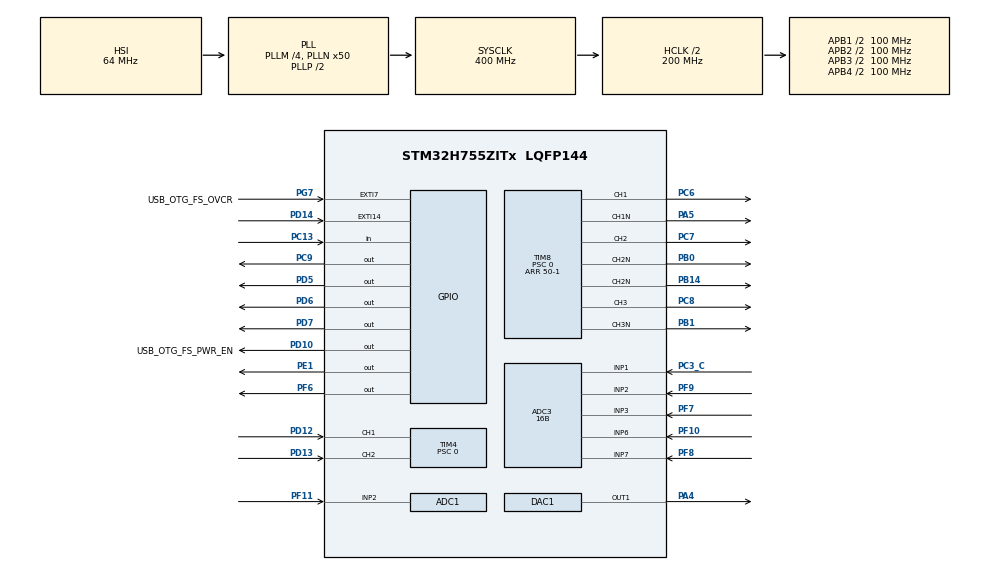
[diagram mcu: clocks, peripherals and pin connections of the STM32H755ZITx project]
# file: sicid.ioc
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ADC1.Channel-0\#ChannelRegularConversion=ADC_CHANNEL_2
ADC1.ClockPrescaler=ADC_CLOCK_ASYNC_DIV4
ADC1.ContinuousConvMode=DISABLE
ADC1.ConversionDataManagement=ADC_CONVERSIONDATA_DMA_CIRCULAR
ADC1.ExternalTrigConv=ADC_EXTERNALTRIG_T8_TRGO
ADC1.ExternalTrigConvEdge=ADC_EXTERNALTRIGCONVEDGE_RISING
ADC1.NbrOfConversion=1
ADC1.NbrOfConversionFlag=1
ADC1.OffsetNumber-0\#ChannelRegularConversion=ADC_OFFSET_NONE
ADC1.OffsetSignedSaturation-0\#ChannelRegularConversion=DISABLE
ADC1.Rank-0\#ChannelRegularConversion=1
ADC1.Resolution=ADC_RESOLUTION_16B
ADC1.SamplingTime-0\#ChannelRegularConversion=ADC_SAMPLETIME_64CYCLES_5
ADC1.master=1
ADC3.Channel-0\#ChannelRegularConversion=ADC_CHANNEL_6
ADC3.Channel-1\#ChannelRegularConversion=ADC_CHANNEL_7
ADC3.Channel-2\#ChannelRegularConversion=ADC_CHANNEL_2
ADC3.Channel-3\#ChannelRegularConversion=ADC_CHANNEL_3
ADC3.ClockPrescaler=ADC_CLOCK_ASYNC_DIV4
ADC3.ClockPrescalerADC3=ADC_CLOCK_ASYNC_DIV2
ADC3.ContinuousConvMode=ENABLE
ADC3.ConversionDataManagement=ADC_CONVERSIONDATA_DMA_CIRCULAR
ADC3.ExternalTrigConv=ADC_EXTERNALTRIG_T1_TRGO
ADC3.NbrOfConversion=4
ADC3.NbrOfConversionFlag=1
ADC3.OffsetNumber-0\#ChannelRegularConversion=ADC_OFFSET_NONE
ADC3.OffsetNumber-1\#ChannelRegularConversion=ADC_OFFSET_NONE
ADC3.OffsetNumber-2\#ChannelRegularConversion=ADC_OFFSET_NONE
ADC3.OffsetNumber-3\#ChannelRegularConversion=ADC_OFFSET_NONE
ADC3.OffsetSignedSaturation-0\#ChannelRegularConversion=DISABLE
ADC3.Rank-0\#ChannelRegularConversion=1
ADC3.Rank-1\#ChannelRegularConversion=2
ADC3.Rank-2\#ChannelRegularConversion=3
ADC3.Rank-3\#ChannelRegularConversion=4
ADC3.Ratio=2
ADC3.Resolution=ADC_RESOLUTION_16B
ADC3.SamplingTime-0\#ChannelRegularConversion=ADC_SAMPLETIME_64CYCLES_5
ADC3.SamplingTime-1\#ChannelRegularConversion=ADC_SAMPLETIME_64CYCLES_5
ADC3.SamplingTime-2\#ChannelRegularConversion=ADC_SAMPLETIME_64CYCLES_5
ADC3.SamplingTime-3\#ChannelRegularConversion=ADC_SAMPLETIME_64CYCLES_5
CortexM4.IPs=FATFS_M4\:I,FREERTOS_M4\:I,IWDG2\:I,RCC,WWDG2\:I,DMA,BDMA,MDMA,NVIC2\:I,ETH,USART3,DEBUG,PDM2PCM_M4\:I,PWR,RESMGR_UTILITY,SYS_M4\:I,USB_DEVICE_M4\:I,USB_HOST_M4\:I,CORTEX_M4\:I,GPIO,OPENAMP_M4\:I,VREFBUF,NUCLEO-H755ZI-Q
CortexM7.IPs=FATFS_M7\:I,FREERTOS_M7\:I,IWDG1\:I,RCC\:I,WWDG1\:I,DMA\:I,BDMA\:I,MDMA\:I,NVIC1\:I,ETH\:I,USART3\:I,USB_OTG_FS\:I,SYS\:I,CORTEX_M7\:I,DEBUG\:I,PDM2PCM_M7\:I,PWR\:I,RESMGR_UTILITY\:I,USB_DEVICE_M7\:I,USB_HOST_M7\:I,GPIO\:I,OPENAMP_M7\:I,VREFBUF\:I,NUCLEO-H755ZI-Q\:I,MEMORYMAP\:I,ADC3\:I,DAC1\:I,TIM1\:I,TIM2\:I,TIM4\:I,TIM8\:I,TIM6\:I,ADC1\:I
CortexM7.Pins=PF6,PD14,PD5,PD6,PD7
DAC1.DAC_Channel-DAC_OUT1=DAC_CHANNEL_1
DAC1.DAC_Trigger-DAC_OUT1=DAC_TRIGGER_T1_TRGO
Dma.ADC1.2.Direction=DMA_PERIPH_TO_MEMORY
Dma.ADC1.2.EventEnable=DISABLE
Dma.ADC1.2.FIFOMode=DMA_FIFOMODE_DISABLE
Dma.ADC1.2.Instance=DMA2_Stream0
Dma.ADC1.2.MemDataAlignment=DMA_MDATAALIGN_HALFWORD
Dma.ADC1.2.MemInc=DMA_MINC_ENABLE
Dma.ADC1.2.Mode=DMA_CIRCULAR
Dma.ADC1.2.PeriphDataAlignment=DMA_PDATAALIGN_HALFWORD
Dma.ADC1.2.PeriphInc=DMA_PINC_DISABLE
Dma.ADC1.2.Polarity=HAL_DMAMUX_REQ_GEN_RISING
Dma.ADC1.2.Priority=DMA_PRIORITY_LOW
Dma.ADC1.2.RequestNumber=1
Dma.ADC1.2.SignalID=NONE
Dma.ADC1.2.SyncEnable=DISABLE
Dma.ADC1.2.SyncPolarity=HAL_DMAMUX_SYNC_NO_EVENT
Dma.ADC1.2.SyncRequestNumber=1
Dma.ADC1.2.SyncSignalID=NONE
Dma.ADC3.0.Direction=DMA_PERIPH_TO_MEMORY
Dma.ADC3.0.EventEnable=DISABLE
Dma.ADC3.0.FIFOMode=DMA_FIFOMODE_DISABLE
Dma.ADC3.0.Instance=DMA1_Stream0
Dma.ADC3.0.MemDataAlignment=DMA_MDATAALIGN_HALFWORD
Dma.ADC3.0.MemInc=DMA_MINC_ENABLE
Dma.ADC3.0.Mode=DMA_CIRCULAR
Dma.ADC3.0.PeriphDataAlignment=DMA_PDATAALIGN_HALFWORD
Dma.ADC3.0.PeriphInc=DMA_PINC_DISABLE
Dma.ADC3.0.Polarity=HAL_DMAMUX_REQ_GEN_RISING
Dma.ADC3.0.Priority=DMA_PRIORITY_LOW
Dma.ADC3.0.RequestNumber=1
Dma.ADC3.0.SignalID=NONE
Dma.ADC3.0.SyncEnable=DISABLE
Dma.ADC3.0.SyncPolarity=HAL_DMAMUX_SYNC_NO_EVENT
Dma.ADC3.0.SyncRequestNumber=1
Dma.ADC3.0.SyncSignalID=NONE
Dma.DAC1_CH1.1.Direction=DMA_MEMORY_TO_PERIPH
Dma.DAC1_CH1.1.EventEnable=DISABLE
Dma.DAC1_CH1.1.FIFOMode=DMA_FIFOMODE_DISABLE
Dma.DAC1_CH1.1.Instance=DMA1_Stream1
Dma.DAC1_CH1.1.MemDataAlignment=DMA_MDATAALIGN_HALFWORD
Dma.DAC1_CH1.1.MemInc=DMA_MINC_ENABLE
Dma.DAC1_CH1.1.Mode=DMA_CIRCULAR
Dma.DAC1_CH1.1.PeriphDataAlignment=DMA_PDATAALIGN_HALFWORD
Dma.DAC1_CH1.1.PeriphInc=DMA_PINC_DISABLE
Dma.DAC1_CH1.1.Polarity=HAL_DMAMUX_REQ_GEN_RISING
Dma.DAC1_CH1.1.Priority=DMA_PRIORITY_LOW
Dma.DAC1_CH1.1.RequestNumber=1
Dma.DAC1_CH1.1.SignalID=NONE
Dma.DAC1_CH1.1.SyncEnable=DISABLE
Dma.DAC1_CH1.1.SyncPolarity=HAL_DMAMUX_SYNC_NO_EVENT
Dma.DAC1_CH1.1.SyncRequestNumber=1
Dma.DAC1_CH1.1.SyncSignalID=NONE
Dma.Request0=ADC3
Dma.Request1=DAC1_CH1
Dma.Request2=ADC1
Mcu.Family=STM32H7
Mcu.Name=STM32H755ZITx
Mcu.Package=LQFP144
NUCLEO-H755ZI-Q.BUTTON=1
NUCLEO-H755ZI-Q.LD1=true
NUCLEO-H755ZI-Q.LD2=true
NUCLEO-H755ZI-Q.LD3=true
NUCLEO-H755ZI-Q.VCP=true
NVIC1.DMA1_Stream0_IRQn=true\:0\:0\:false\:false\:true\:false\:true\:true
NVIC1.DMA1_Stream1_IRQn=true\:0\:0\:false\:false\:true\:false\:true\:true
NVIC1.DMA2_Stream0_IRQn=true\:1\:0\:true\:false\:true\:false\:true\:true
NVIC1.EXTI15_10_IRQn=true\:0\:0\:false\:false\:true\:true\:true\:true
NVIC1.PriorityGroup=NVIC_PRIORITYGROUP_4
NVIC1.TIM1_UP_IRQn=true\:0\:0\:true\:false\:true\:true\:true\:true
NVIC1.TIM2_IRQn=true\:0\:0\:true\:false\:true\:true\:true\:true
NVIC1.TIM4_IRQn=true\:0\:0\:false\:false\:true\:true\:true\:true
NVIC1.TIM8_TRG_COM_TIM14_IRQn=true\:1\:0\:true\:false\:true\:true\:true\:true
NVIC1.TIM8_UP_TIM13_IRQn=true\:1\:0\:true\:false\:true\:true\:true\:true
NVIC2.PriorityGroup=NVIC_PRIORITYGROUP_4
PA1.PinAttribute=CortexM7
PA1.Signal=ETH_REF_CLK
PA11.PinAttribute=CortexM7
PA11.Signal=USB_OTG_FS_DM
PA12.PinAttribute=CortexM7
PA12.Signal=USB_OTG_FS_DP
PA2.PinAttribute=CortexM7
PA2.Signal=ETH_MDIO
PA4.PinAttribute=CortexM7
PA4.Signal=COMP_DAC11_group
PA5.Mode=PWM Generation1 CH1 CH1N
PA5.PinAttribute=CortexM7
PA5.Signal=TIM8_CH1N
PA7.PinAttribute=CortexM7
PA7.Signal=ETH_CRS_DV
PA8.PinAttribute=CortexM7
PA8.Signal=USB_OTG_FS_SOF
PA9.PinAttribute=CortexM7
PA9.Signal=USB_OTG_FS_VBUS
PB0.Mode=PWM Generation2 CH2 CH2N
PB0.PinAttribute=CortexM7
PB0.Signal=TIM8_CH2N
PB1.Mode=PWM Generation3 CH3 CH3N
PB1.PinAttribute=CortexM7
PB1.Signal=TIM8_CH3N
PB13.PinAttribute=CortexM7
PB13.Signal=ETH_TXD1
PB14.Mode=PWM Generation2 CH2 CH2N
PB14.Signal=TIM8_CH2N
PC1.PinAttribute=CortexM7
PC1.Signal=ETH_MDC
PC13.Signal=GPIO_Input
PC14-OSC32_IN\ (OSC32_IN).Mode=LSE-External-Oscillator
PC14-OSC32_IN\ (OSC32_IN).PinAttribute=Free
PC14-OSC32_IN\ (OSC32_IN).Signal=RCC_OSC32_IN
PC15-OSC32_OUT\ (OSC32_OUT).Mode=LSE-External-Oscillator
PC15-OSC32_OUT\ (OSC32_OUT).PinAttribute=Free
PC15-OSC32_OUT\ (OSC32_OUT).Signal=RCC_OSC32_OUT
PC3_C.Mode=IN1-Single-Ended
PC3_C.PinAttribute=CortexM7
PC3_C.Signal=ADC3_INP1
PC4.PinAttribute=CortexM7
PC4.Signal=ETH_RXD0
PC5.PinAttribute=CortexM7
PC5.Signal=ETH_RXD1
PC6.PinAttribute=CortexM7
PC6.Signal=S_TIM8_CH1
PC7.PinAttribute=CortexM7
PC7.Signal=S_TIM8_CH2
PC8.PinAttribute=CortexM7
PC8.Signal=S_TIM8_CH3
PC9.PinAttribute=Free
PC9.Signal=GPIO_Output
PD10.GPIO_Label=USB_OTG_FS_PWR_EN
PD10.PinAttribute=Free
PD10.Signal=GPIO_Output
PD12.PinAttribute=CortexM7
PD12.Signal=S_TIM4_CH1
PD13.PinAttribute=CortexM7
PD13.Signal=S_TIM4_CH2
PD14.GPIO_PuPd=GPIO_PULLUP
PD14.PinAttribute=CortexM7
PD14.Signal=GPXTI14
PD5.PinAttribute=CortexM7
PD5.PinState=GPIO_PIN_SET
PD5.Signal=GPIO_Output
PD6.PinAttribute=CortexM7
PD6.PinState=GPIO_PIN_SET
PD6.Signal=GPIO_Output
PD7.PinAttribute=CortexM7
PD7.PinState=GPIO_PIN_SET
PD7.Signal=GPIO_Output
PD8.Signal=USART3_TX
PD9.Signal=USART3_RX
PE1.Signal=GPIO_Output
PF10.Mode=IN6-Single-Ended
PF10.PinAttribute=CortexM7
PF10.Signal=ADC3_INP6
PF11.Mode=IN2-Single-Ended
PF11.PinAttribute=CortexM7
PF11.Signal=ADC1_INP2
PF6.PinAttribute=CortexM7
PF6.PinState=GPIO_PIN_SET
PF6.Signal=GPIO_Output
PF7.Mode=IN3-Single-Ended
PF7.PinAttribute=CortexM7
PF7.Signal=ADC3_INP3
PF8.Mode=IN7-Single-Ended
PF8.PinAttribute=CortexM7
PF8.Signal=ADC3_INP7
PF9.Mode=IN2-Single-Ended
PF9.PinAttribute=CortexM7
PF9.Signal=ADC3_INP2
PG11.PinAttribute=CortexM7
PG11.Signal=ETH_TX_EN
PG13.PinAttribute=CortexM7
PG13.Signal=ETH_TXD0
PG7.GPIO_Label=USB_OTG_FS_OVCR
PG7.PinAttribute=Free
PG7.Signal=GPXTI7
PH0-OSC_IN\ (PH0).Mode=HSE-External-Clock-Source
PH0-OSC_IN\ (PH0).PinAttribute=Free
PH0-OSC_IN\ (PH0).Signal=RCC_OSC_IN
PH1-OSC_OUT\ (PH1).PinAttribute=Free
PH1-OSC_OUT\ (PH1).Signal=RCC_OSC_OUT
ProjectManager.HeapSize=M4-0x200,M7-0x200
ProjectManager.StackSize=M4-0x400,M7-0x400
ProjectManager.TargetToolchain=STM32CubeIDE
RCC.ADCFreq_Value=80000000
RCC.APB1Freq_Value=100000000
RCC.APB2Freq_Value=100000000
RCC.APB3Freq_Value=100000000
RCC.APB4Freq_Value=100000000
RCC.CortexFreq_Value=400000000
RCC.D1PPRE=RCC_APB3_DIV2
RCC.D2PPRE1=RCC_APB1_DIV2
RCC.D2PPRE2=RCC_APB2_DIV2
RCC.D3PPRE=RCC_APB4_DIV2
RCC.DIVM1=4
RCC.DIVM2=4
RCC.DIVN1=50
RCC.DIVN2=10
RCC.DIVQ1=5
RCC.HCLKFreq_Value=200000000
RCC.HPRE=RCC_HCLK_DIV2
RCC.PLL2FRACN=0
RCC.PLL3FRACN=0
RCC.PLLFRACN=0
RCC.PWR_Regulator_Voltage_Scale=PWR_REGULATOR_VOLTAGE_SCALE1
RCC.SYSCLKFreq_VALUE=400000000
RCC.SYSCLKSource=RCC_SYSCLKSOURCE_PLLCLK
RCC.SupplySource=PWR_DIRECT_SMPS_SUPPLY
RCC.USBFreq_Value=160000000
SH.COMP_DAC11_group.0=DAC1_OUT1,DAC_OUT1
SH.S_TIM4_CH1.0=TIM4_CH1,Encoder_Interface
SH.S_TIM4_CH2.0=TIM4_CH2,Encoder_Interface
SH.S_TIM8_CH1.0=TIM8_CH1,PWM Generation1 CH1 CH1N
SH.S_TIM8_CH2.0=TIM8_CH2,PWM Generation2 CH2 CH2N
SH.S_TIM8_CH3.0=TIM8_CH3,PWM Generation3 CH3 CH3N
TIM1.Period=5-1
TIM1.TIM_MasterOutputTrigger=TIM_TRGO_UPDATE
TIM1.TIM_MasterSlaveMode=TIM_MASTERSLAVEMODE_ENABLE
TIM2.Period=4-1
TIM2.Prescaler=200-1
TIM2.TIM_MasterOutputTrigger=TIM_TRGO_UPDATE
TIM2.TIM_MasterSlaveMode=TIM_MASTERSLAVEMODE_ENABLE
TIM4.EncoderMode=TIM_ENCODERMODE_TI12
TIM4.Prescaler=0
TIM6.Period=65535-1
TIM6.Prescaler=200-1
TIM8.Channel-PWM\ Generation1\ CH1\ CH1N=TIM_CHANNEL_1
TIM8.Channel-PWM\ Generation2\ CH2\ CH2N=TIM_CHANNEL_2
TIM8.Channel-PWM\ Generation3\ CH3\ CH3N=TIM_CHANNEL_3
TIM8.OCNPolarity_1=TIM_OCNPOLARITY_LOW
TIM8.OCNPolarity_2=TIM_OCNPOLARITY_LOW
TIM8.OCNPolarity_3=TIM_OCNPOLARITY_LOW
TIM8.Period=50-1
TIM8.Prescaler=0
TIM8.TIM_MasterOutputTrigger=TIM_TRGO_UPDATE
TIM8.TIM_MasterSlaveMode=TIM_MASTERSLAVEMODE_ENABLE
VP_MEMORYMAP_VS_MEMORYMAP.Mode=CurAppReg
VP_NUCLEO-H755ZI-Q_VS_BSP_COMMON.Mode=COMMON
VP_SYS_M4_VS_Systick.Mode=SysTick
VP_TIM1_VS_ClockSourceITR.Mode=TriggerSource_ITR1
VP_TIM1_VS_ControllerModeClock.Mode=Clock Mode
VP_TIM2_VS_ClockSourceINT.Mode=Internal
VP_TIM6_VS_ClockSourceINT.Mode=Enable_Timer
VP_TIM8_VS_ClockSourceITR.Mode=TriggerSource_ITR1
VP_TIM8_VS_ControllerModeClock.Mode=Clock Mode
board=NUCLEO-H755ZI-Q

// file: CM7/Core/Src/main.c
/* USER CODE BEGIN Header */
/**
  ******************************************************************************
  * @file           : main.c
  * @brief          : Main program body
  ******************************************************************************
  * @attention
  *
  * Copyright (c) 2025 STMicroelectronics.
  * All rights reserved.
  *
  * This software is licensed under terms that can be found in the LICENSE file
  * in the root directory of this software component.
  * If no LICENSE file comes with this software, it is provided AS-IS.
  *
  ******************************************************************************
  */
/* USER CODE END Header */
#include "main.h"

/* USER CODE BEGIN Includes */
#include <stdio.h>
#include <math.h>

/* USER CODE END Includes */

/* USER CODE BEGIN PD */

#ifndef HSEM_ID_0
#define HSEM_ID_0 (0U) /* HW semaphore 0*/
#endif

/* USER CODE END PD */

COM_InitTypeDef BspCOMInit;
ADC_HandleTypeDef hadc1;
ADC_HandleTypeDef hadc3;
DMA_HandleTypeDef hdma_adc1;
DMA_HandleTypeDef hdma_adc3;

DAC_HandleTypeDef hdac1;
DMA_HandleTypeDef hdma_dac1_ch1;

TIM_HandleTypeDef htim1;
TIM_HandleTypeDef htim2;
TIM_HandleTypeDef htim4;
TIM_HandleTypeDef htim6;
TIM_HandleTypeDef htim8;

void SystemClock_Config(void);
void PeriphCommonClock_Config(void);
static void MX_GPIO_Init(void);
static void MX_DMA_Init(void);
static void MX_ADC3_Init(void);
static void MX_DAC1_Init(void);
static void MX_TIM1_Init(void);
static void MX_TIM2_Init(void);
static void MX_TIM4_Init(void);
static void MX_TIM6_Init(void);
static void MX_TIM8_Init(void);
static void MX_ADC1_Init(void);

/* USER CODE BEGIN 0 */
double FastArcTan(double x);
void InitLUT(void);
void SensorlessLUT(void);
float LowPassFilter(float x,float x_prev);
void generate_L_sin();
float calculate_average(float *values, int count);
int motor_start=0;
int duty=30, duty1=20, duty_pre=0;
char MSG[50];

float Kp= 0.1, Ki=0.1, Kp_par1=0.01, Ki_par1= 0.001;

int p1_LUT[1024], p2_LUT[1024], p3_LUT[1024];
int p1_ssLUT[3000]={0,}, p2_ssLUT[3000]={0,}, p3_ssLUT[3000]={0,};
int enc_c = 0;
int angle_on = 512;
int angle_off = 853;
uint16_t adc_val[4];
uint16_t uvw_val[1];
uint16_t current_offset[4]={0};
uint16_t uvw_offset[1]={0};
int hfp_1=0,hfp_2=0,hfp_3=0;

int current =0, current_error =0, current_error_sum=0, current_ref=2000;

float L_a =0, L_b=0,L_c=0,Lma=0 ,Lna=0, Lmb=0,Lnb=0,Lnc=0,Lmc=0;

int tim8_count,tim8_start,tim8_finish, tim8_count2, tim1_count3,tim8_start2,tim8_finish2,tim1_start3,tim1_finish3;

int chai_a, chai_b,chai_c;
int example1=0,example2=0,example3=0,example4=0,example5=0,example6=0;
int chai_plus_a=0,chai_minus_a=0,chai_plus_b=0,chai_minus_b=0,chai_plus_c=0,chai_minus_c=0;
int example1_plus_a=0,example1_minus_a=0,example2_plus_a=0,example2_minus_a=0,example3_plus_b=0,example3_minus_b=0;
int example4_plus_b=0,example4_minus_b=0,example5_plus_c=0,example5_minus_c=0,example6_plus_c=0,example6_minus_c=0;
int stop_timer=0, sensorless_start=0;
int lut_angle=0,prev_lut_angle;
float plus_di_dt_a=0,minus_di_dt_a=0,plus_di_dt_b=0,minus_di_dt_b=0,plus_di_dt_c=0,minus_di_dt_c=0;

uint16_t enc_c_count=0;

int enc_z_phase=0;

float theta_a=0, angle_a=0, theta_b=0, angle_b=0, theta_c=0, angle_c=0;
int sicid_start=0;
int A_switch=0 ,B_switch=1 ,C_switch=0;
float past_L_a=0,past_L_b=0,past_L_c=0;

int lut_angle_prev =0,dif_angle=0;
unsigned int gain_L_start =0, gain_L_wait =0,gain_L_stop=0, one_time =0, seq=0;

float max_L_a =0, min_L_a =5000,max_L_b =0, min_L_b =5000,max_L_c =0, min_L_c =5000;

float L_sin[4000];

float start_time=0, elapsed_time=0, final_time=0;
int trigger_count=0, measurement_complete=0;
int previous_elapsed_time =0, new_elapsed_time=0;

int L_a_sin_pre =0, L_b_sin_pre =0, L_c_sin_pre=0;
float tim8_nums=0;
int seq_a=0,seq_b=0,seq_c=0;
float inc=0,new_inc=0;
float L_a_sin=0,L_b_sin=0,L_c_sin=0;

float past2_L_a=0,past2_L_b=0,past2_L_c=0, avg_L_a=0,avg_L_b=0,avg_L_c=0;

int encoder =1;
uint16_t a_ready =0,b_ready =0,c_ready =0;
int check =0;
int sin_seq_a=0,sin_seq_b=0,sin_seq_c=0;

float used_L_a=0,used_L_b=0,used_L_c=0;

int p1=0,p2=0,p3=0;
int reconstruction=0;

float L_a_filtered=1;
float L_a_filtered_values[20] = {0};
int filtered_index_a=0;
float L_a_filtered_average=0;

int temp_chai_a1=0,current_num_a1=0;
int temp_chai_a2=0,current_num_a2=0;
float prev_L_a=0;

float L_b_filtered=1;
float L_b_filtered_values[20] = {0};
int filtered_index_b=0;
float L_b_filtered_average=0;

int temp_chai_b1=0,current_num_b1=0;
int temp_chai_b2=0,current_num_b2=0;
float prev_L_b=0;

float L_c_filtered=1;
float L_c_filtered_values[20] = {0};
int filtered_index_c=0;
float L_c_filtered_average=0;

int temp_chai_c1=0,current_num_c1=0;
int temp_chai_c2=0,current_num_c2=0;
float prev_L_c=0;

int index_num=4;

int tim4_cnt=0;
int tim8_ccr[3]={0,};
float prev2_L_a=0,prev2_L_b=0,prev2_L_c=0;
int temp=6000000;
int counttt=750,countt=8500, countttt=10000, count5=100;
int sicid_val=150;
uint16_t first_triggered = 0;  // 첫 번째 트리거 여부
uint16_t min_recon=600;

uint16_t converted_L_a=0, converted_L_a_filtered_average=0;
uint16_t converted_L_b=0, converted_L_b_filtered_average=0;
uint16_t converted_L_c=0, converted_L_c_filtered_average=0;
uint16_t converted_a_ready=0,converted_b_ready=0,converted_c_ready=0;
uint16_t converted_lut_angle=0;
uint16_t current_value=0;

int measure_minmax=0, reset_minmax=0;
/* USER CODE END 0 */

int main(void)
{

/* USER CODE BEGIN Boot_Mode_Sequence_0 */
  int32_t timeout;
/* USER CODE END Boot_Mode_Sequence_0 */

/* USER CODE BEGIN Boot_Mode_Sequence_1 */
  /* Wait until CPU2 boots and enters in stop mode or timeout*  timeout = 0xFFFF;
  while((__HAL_RCC_GET_FLAG(RCC_FLAG_D2CKRDY) != RESET) && (timeout-- > 0));9
  }
/* USER CODE END Boot_Mode_Sequence_1 */
  /* MCU Configuration--------------------------------------------------------*/

  /* Reset of all peripherals, Initializes the Flash interface and the Systick. */
  HAL_Init();

  /* Configure the system clock */
  SystemClock_Config();

  /* Configure the peripherals common clocks */
  PeriphCommonClock_Config();
/* USER CODE BEGIN Boot_Mode_Sequence_2 */
/* When system initialization is finished, Cortex-M7 will release Cortex-M4 by means of
HSEM notification */
/*HW semaphore Clock enable*/
__HAL_RCC_HSEM_CLK_ENABLE();
/*Take HSEM */
HAL_HSEM_FastTake(HSEM_ID_0);
/*Release HSEM in order to notify the CPU2(CM4)*/
HAL_HSEM_Release(HSEM_ID_0,0);
/* wait until CPU2 wakes up from stop mode */
timeout = 0xFFFF;
while((__HAL_RCC_GET_FLAG(RCC_FLAG_D2CKRDY) == RESET) && (timeout-- > 0));
if ( timeout < 0 )
{
Error_Handler();
}
/* USER CODE END Boot_Mode_Sequence_2 */

  /* Initialize all configured peripherals */
  MX_GPIO_Init();
  MX_DMA_Init();
  MX_ADC3_Init();
  MX_DAC1_Init();
  MX_TIM1_Init();
  MX_TIM2_Init();
  MX_TIM4_Init();
  MX_TIM6_Init();
  MX_TIM8_Init();
  MX_ADC1_Init();
  /* USER CODE BEGIN 2 */
  InitLUT();
  SensorlessLUT();
  generate_L_sin();
  HAL_TIM_PWM_Start(&htim8, TIM_CHANNEL_1);
  HAL_TIM_PWM_Start(&htim8, TIM_CHANNEL_2);
  HAL_TIM_PWM_Start(&htim8, TIM_CHANNEL_3);
  HAL_TIMEx_PWMN_Start(&htim8, TIM_CHANNEL_1);
  HAL_TIMEx_PWMN_Start(&htim8, TIM_CHANNEL_2);
  HAL_TIMEx_PWMN_Start(&htim8, TIM_CHANNEL_3);

  HAL_TIM_Base_Start_IT(&htim2); // Timer 2 Start
  HAL_TIM_Base_Start_IT(&htim1);
  HAL_TIM_Base_Start_IT(&htim6);
  HAL_TIM_Base_Start_IT(&htim8);
  HAL_ADC_Start_DMA(&hadc3, &adc_val[0], 4);
  HAL_ADC_Start_DMA(&hadc1, &uvw_val[0], 1);
  HAL_DAC_Start(&hdac1, DAC_CHANNEL_1);
  //HAL_DAC_Start(&hdac1, DAC_CHANNEL_2);
 // HAL_DAC_Start_DMA(&hdac1, DAC_CHANNEL_1, &converted_L_a_filtered_average, 1, DAC_ALIGN_12B_R);
  HAL_DAC_Start_DMA(&hdac1, DAC_CHANNEL_1, &converted_L_a_filtered_average, 1, DAC_ALIGN_12B_R);
 // HAL_DAC_Start_DMA(&hdac1, DAC_CHANNEL_2, &converted_L_c_filtered_average, 1, DAC_ALIGN_12B_R);
  HAL_TIM_Encoder_Start(&htim4, TIM_CHANNEL_ALL);

  // Start Motor
  HAL_Delay(1000);

  TIM8->CCR1 = 30;
  TIM8->CCR2 = 0;
  TIM8->CCR3 = 0;
  HAL_Delay(2000);

  // Intialize the Encoder 2

	TIM4->CNT = 0;
	TIM1->CNT = 0;

	TIM8->CCR1 = 0;
	TIM8->CCR2 = 0;
	TIM8->CCR3 = 0;
	HAL_GPIO_WritePin(GPIOF, GPIO_PIN_6, GPIO_PIN_SET);
	HAL_Delay(1000);

	for(int i=0;i<10;i++){
		uvw_offset[0]+=uvw_val[0]/10;
	  for(int j=1;j<4;j++) current_offset[j]+=adc_val[j]/10;
	}
	motor_start = encoder;
	sicid_start=1-encoder;

  /* USER CODE END 2 */

  /* Initialize leds */

  /* Initialize USER push-button, will be used to trigger an interrupt each time it's pressed.*/
  BSP_PB_Init(BUTTON_USER, BUTTON_MODE_EXTI);

  /* Initialize COM1 port (115200, 8 bits (7-bit data + 1 stop bit), no parity */
  BspCOMInit.BaudRate   = 115200;
  BspCOMInit.WordLength = COM_WORDLENGTH_8B;
  BspCOMInit.StopBits   = COM_STOPBITS_1;
  BspCOMInit.Parity     = COM_PARITY_NONE;
  BspCOMInit.HwFlowCtl  = COM_HWCONTROL_NONE;
  if (BSP_COM_Init(COM1, &BspCOMInit) != BSP_ERROR_NONE)
  {
    Error_Handler();
  }

  /* Infinite loop */
  /* USER CODE BEGIN WHILE */
  while (1)
  {
	  //HAL_DAC_SetValue(&hdac1, DAC_CHANNEL_1, DAC_ALIGN_12B_R,L_a);
    /* USER CODE END WHILE */

    /* USER CODE BEGIN 3 */

//   HAL_Delay(500);          // 1초 대기

  }
  /* USER CODE END 3 */
}

void SystemClock_Config(void)
{
  RCC_OscInitTypeDef RCC_OscInitStruct = {0};
  RCC_ClkInitTypeDef RCC_ClkInitStruct = {0};

  /** Supply configuration update enable
  */
  HAL_PWREx_ConfigSupply(PWR_DIRECT_SMPS_SUPPLY);

  /** Configure the main internal regulator output voltage
  */
  __HAL_PWR_VOLTAGESCALING_CONFIG(PWR_REGULATOR_VOLTAGE_SCALE1);

  while(!__HAL_PWR_GET_FLAG(PWR_FLAG_VOSRDY)) {}

  /** Initializes the RCC Oscillators according to the specified parameters
  * in the RCC_OscInitTypeDef structure.
  */
  RCC_OscInitStruct.OscillatorType = RCC_OSCILLATORTYPE_HSI;
  RCC_OscInitStruct.HSIState = RCC_HSI_DIV1;
  RCC_OscInitStruct.HSICalibrationValue = RCC_HSICALIBRATION_DEFAULT;
  RCC_OscInitStruct.PLL.PLLState = RCC_PLL_ON;
  RCC_OscInitStruct.PLL.PLLSource = RCC_PLLSOURCE_HSI;
  RCC_OscInitStruct.PLL.PLLM = 4;
  RCC_OscInitStruct.PLL.PLLN = 50;
  RCC_OscInitStruct.PLL.PLLP = 2;
  RCC_OscInitStruct.PLL.PLLQ = 5;
  RCC_OscInitStruct.PLL.PLLR = 2;
  RCC_OscInitStruct.PLL.PLLRGE = RCC_PLL1VCIRANGE_3;
  RCC_OscInitStruct.PLL.PLLVCOSEL = RCC_PLL1VCOWIDE;
  RCC_OscInitStruct.PLL.PLLFRACN = 0;
  if (HAL_RCC_OscConfig(&RCC_OscInitStruct) != HAL_OK)
  {
    Error_Handler();
  }

  /** Initializes the CPU, AHB and APB buses clocks
  */
  RCC_ClkInitStruct.ClockType = RCC_CLOCKTYPE_HCLK|RCC_CLOCKTYPE_SYSCLK
                              |RCC_CLOCKTYPE_PCLK1|RCC_CLOCKTYPE_PCLK2
                              |RCC_CLOCKTYPE_D3PCLK1|RCC_CLOCKTYPE_D1PCLK1;
  RCC_ClkInitStruct.SYSCLKSource = RCC_SYSCLKSOURCE_PLLCLK;
  RCC_ClkInitStruct.SYSCLKDivider = RCC_SYSCLK_DIV1;
  RCC_ClkInitStruct.AHBCLKDivider = RCC_HCLK_DIV2;
  RCC_ClkInitStruct.APB3CLKDivider = RCC_APB3_DIV2;
  RCC_ClkInitStruct.APB1CLKDivider = RCC_APB1_DIV2;
  RCC_ClkInitStruct.APB2CLKDivider = RCC_APB2_DIV2;
  RCC_ClkInitStruct.APB4CLKDivider = RCC_APB4_DIV2;

  if (HAL_RCC_ClockConfig(&RCC_ClkInitStruct, FLASH_LATENCY_2) != HAL_OK)
  {
    Error_Handler();
  }
}

void PeriphCommonClock_Config(void)
{
  RCC_PeriphCLKInitTypeDef PeriphClkInitStruct = {0};

  /** Initializes the peripherals clock
  */
  PeriphClkInitStruct.PeriphClockSelection = RCC_PERIPHCLK_ADC;
  PeriphClkInitStruct.PLL2.PLL2M = 4;
  PeriphClkInitStruct.PLL2.PLL2N = 10;
  PeriphClkInitStruct.PLL2.PLL2P = 2;
  PeriphClkInitStruct.PLL2.PLL2Q = 2;
  PeriphClkInitStruct.PLL2.PLL2R = 2;
  PeriphClkInitStruct.PLL2.PLL2RGE = RCC_PLL2VCIRANGE_3;
  PeriphClkInitStruct.PLL2.PLL2VCOSEL = RCC_PLL2VCOMEDIUM;
  PeriphClkInitStruct.PLL2.PLL2FRACN = 0;
  PeriphClkInitStruct.AdcClockSelection = RCC_ADCCLKSOURCE_PLL2;
  if (HAL_RCCEx_PeriphCLKConfig(&PeriphClkInitStruct) != HAL_OK)
  {
    Error_Handler();
  }
}

static void MX_ADC1_Init(void)
{

  ADC_MultiModeTypeDef multimode = {0};
  ADC_ChannelConfTypeDef sConfig = {0};

  /** Common config
  */
  hadc1.Instance = ADC1;
  hadc1.Init.ClockPrescaler = ADC_CLOCK_ASYNC_DIV4;
  hadc1.Init.Resolution = ADC_RESOLUTION_16B;
  hadc1.Init.ScanConvMode = ADC_SCAN_DISABLE;
  hadc1.Init.EOCSelection = ADC_EOC_SINGLE_CONV;
  hadc1.Init.LowPowerAutoWait = DISABLE;
  hadc1.Init.ContinuousConvMode = DISABLE;
  hadc1.Init.NbrOfConversion = 1;
  hadc1.Init.DiscontinuousConvMode = DISABLE;
  hadc1.Init.ExternalTrigConv = ADC_EXTERNALTRIG_T8_TRGO;
  hadc1.Init.ExternalTrigConvEdge = ADC_EXTERNALTRIGCONVEDGE_RISING;
  hadc1.Init.ConversionDataManagement = ADC_CONVERSIONDATA_DMA_CIRCULAR;
  hadc1.Init.Overrun = ADC_OVR_DATA_PRESERVED;
  hadc1.Init.LeftBitShift = ADC_LEFTBITSHIFT_NONE;
  hadc1.Init.OversamplingMode = DISABLE;
  hadc1.Init.Oversampling.Ratio = 1;
  if (HAL_ADC_Init(&hadc1) != HAL_OK)
  {
    Error_Handler();
  }

  /** Configure the ADC multi-mode
  */
  multimode.Mode = ADC_MODE_INDEPENDENT;
  if (HAL_ADCEx_MultiModeConfigChannel(&hadc1, &multimode) != HAL_OK)
  {
    Error_Handler();
  }

  /** Configure Regular Channel
  */
  sConfig.Channel = ADC_CHANNEL_2;
  sConfig.Rank = ADC_REGULAR_RANK_1;
  sConfig.SamplingTime = ADC_SAMPLETIME_64CYCLES_5;
  sConfig.SingleDiff = ADC_SINGLE_ENDED;
  sConfig.OffsetNumber = ADC_OFFSET_NONE;
  sConfig.Offset = 0;
  sConfig.OffsetSignedSaturation = DISABLE;
  if (HAL_ADC_ConfigChannel(&hadc1, &sConfig) != HAL_OK)
  {
    Error_Handler();
  }

}

static void MX_ADC3_Init(void)
{

  ADC_ChannelConfTypeDef sConfig = {0};

  /** Common config
  */
  hadc3.Instance = ADC3;
  hadc3.Init.ClockPrescaler = ADC_CLOCK_ASYNC_DIV2;
  hadc3.Init.ScanConvMode = ADC_SCAN_ENABLE;
  hadc3.Init.EOCSelection = ADC_EOC_SINGLE_CONV;
  hadc3.Init.LowPowerAutoWait = DISABLE;
  hadc3.Init.ContinuousConvMode = ENABLE;
  hadc3.Init.NbrOfConversion = 4;
  hadc3.Init.DiscontinuousConvMode = DISABLE;
  hadc3.Init.ExternalTrigConv = ADC_EXTERNALTRIG_T1_TRGO;
  hadc3.Init.ExternalTrigConvEdge = ADC_EXTERNALTRIGCONVEDGE_RISING;
  hadc3.Init.ConversionDataManagement = ADC_CONVERSIONDATA_DMA_CIRCULAR;
  hadc3.Init.Overrun = ADC_OVR_DATA_PRESERVED;
  hadc3.Init.LeftBitShift = ADC_LEFTBITSHIFT_NONE;
  hadc3.Init.OversamplingMode = DISABLE;
  hadc3.Init.Oversampling.Ratio = 2;
  if (HAL_ADC_Init(&hadc3) != HAL_OK)
  {
    Error_Handler();
  }

  /** Configure Regular Channel
  */
  sConfig.Channel = ADC_CHANNEL_6;
  sConfig.Rank = ADC_REGULAR_RANK_1;
  sConfig.SamplingTime = ADC_SAMPLETIME_64CYCLES_5;
  sConfig.SingleDiff = ADC_SINGLE_ENDED;
  sConfig.OffsetNumber = ADC_OFFSET_NONE;
  sConfig.Offset = 0;
  sConfig.OffsetSignedSaturation = DISABLE;
  if (HAL_ADC_ConfigChannel(&hadc3, &sConfig) != HAL_OK)
  {
    Error_Handler();
  }

  /** Configure Regular Channel
  */
  sConfig.Channel = ADC_CHANNEL_7;
  sConfig.Rank = ADC_REGULAR_RANK_2;
  if (HAL_ADC_ConfigChannel(&hadc3, &sConfig) != HAL_OK)
  {
    Error_Handler();
  }

  /** Configure Regular Channel
  */
  sConfig.Channel = ADC_CHANNEL_2;
  sConfig.Rank = ADC_REGULAR_RANK_3;
  if (HAL_ADC_ConfigChannel(&hadc3, &sConfig) != HAL_OK)
  {
    Error_Handler();
  }

  /** Configure Regular Channel
  */
  sConfig.Channel = ADC_CHANNEL_3;
  sConfig.Rank = ADC_REGULAR_RANK_4;
  if (HAL_ADC_ConfigChannel(&hadc3, &sConfig) != HAL_OK)
  {
    Error_Handler();
  }

}

static void MX_DAC1_Init(void)
{

  DAC_ChannelConfTypeDef sConfig = {0};

  /** DAC Initialization
  */
  hdac1.Instance = DAC1;
  if (HAL_DAC_Init(&hdac1) != HAL_OK)
  {
    Error_Handler();
  }

  /** DAC channel OUT1 config
  */
  sConfig.DAC_SampleAndHold = DAC_SAMPLEANDHOLD_DISABLE;
  sConfig.DAC_Trigger = DAC_TRIGGER_T1_TRGO;
  sConfig.DAC_OutputBuffer = DAC_OUTPUTBUFFER_ENABLE;
  sConfig.DAC_ConnectOnChipPeripheral = DAC_CHIPCONNECT_DISABLE;
  sConfig.DAC_UserTrimming = DAC_TRIMMING_FACTORY;
  if (HAL_DAC_ConfigChannel(&hdac1, &sConfig, DAC_CHANNEL_1) != HAL_OK)
  {
    Error_Handler();
  }

}

static void MX_TIM1_Init(void)
{

  TIM_SlaveConfigTypeDef sSlaveConfig = {0};
  TIM_MasterConfigTypeDef sMasterConfig = {0};

  htim1.Instance = TIM1;
  htim1.Init.Prescaler = 0;
  htim1.Init.CounterMode = TIM_COUNTERMODE_UP;
  htim1.Init.Period = 5-1;
  htim1.Init.ClockDivision = TIM_CLOCKDIVISION_DIV1;
  htim1.Init.RepetitionCounter = 0;
  htim1.Init.AutoReloadPreload = TIM_AUTORELOAD_PRELOAD_DISABLE;
  if (HAL_TIM_Base_Init(&htim1) != HAL_OK)
  {
    Error_Handler();
  }
  sSlaveConfig.SlaveMode = TIM_SLAVEMODE_EXTERNAL1;
  sSlaveConfig.InputTrigger = TIM_TS_ITR1;
  if (HAL_TIM_SlaveConfigSynchro(&htim1, &sSlaveConfig) != HAL_OK)
  {
    Error_Handler();
  }
  sMasterConfig.MasterOutputTrigger = TIM_TRGO_UPDATE;
  sMasterConfig.MasterOutputTrigger2 = TIM_TRGO2_RESET;
  sMasterConfig.MasterSlaveMode = TIM_MASTERSLAVEMODE_ENABLE;
  if (HAL_TIMEx_MasterConfigSynchronization(&htim1, &sMasterConfig) != HAL_OK)
  {
    Error_Handler();
  }

}

static void MX_TIM2_Init(void)
{

  TIM_ClockConfigTypeDef sClockSourceConfig = {0};
  TIM_MasterConfigTypeDef sMasterConfig = {0};

  htim2.Instance = TIM2;
  htim2.Init.Prescaler = 200-1;
  htim2.Init.CounterMode = TIM_COUNTERMODE_UP;
  htim2.Init.Period = 4-1;
  htim2.Init.ClockDivision = TIM_CLOCKDIVISION_DIV1;
  htim2.Init.AutoReloadPreload = TIM_AUTORELOAD_PRELOAD_DISABLE;
  if (HAL_TIM_Base_Init(&htim2) != HAL_OK)
  {
    Error_Handler();
  }
  sClockSourceConfig.ClockSource = TIM_CLOCKSOURCE_INTERNAL;
  if (HAL_TIM_ConfigClockSource(&htim2, &sClockSourceConfig) != HAL_OK)
  {
    Error_Handler();
  }
  sMasterConfig.MasterOutputTrigger = TIM_TRGO_UPDATE;
  sMasterConfig.MasterSlaveMode = TIM_MASTERSLAVEMODE_ENABLE;
  if (HAL_TIMEx_MasterConfigSynchronization(&htim2, &sMasterConfig) != HAL_OK)
  {
    Error_Handler();
  }

}

static void MX_TIM4_Init(void)
{

  TIM_Encoder_InitTypeDef sConfig = {0};
  TIM_MasterConfigTypeDef sMasterConfig = {0};

  htim4.Instance = TIM4;
  htim4.Init.Prescaler = 0;
  htim4.Init.CounterMode = TIM_COUNTERMODE_UP;
  htim4.Init.Period = 65535;
  htim4.Init.ClockDivision = TIM_CLOCKDIVISION_DIV1;
  htim4.Init.AutoReloadPreload = TIM_AUTORELOAD_PRELOAD_DISABLE;
  sConfig.EncoderMode = TIM_ENCODERMODE_TI12;
  sConfig.IC1Polarity = TIM_ICPOLARITY_RISING;
  sConfig.IC1Selection = TIM_ICSELECTION_DIRECTTI;
  sConfig.IC1Prescaler = TIM_ICPSC_DIV1;
  sConfig.IC1Filter = 0;
  sConfig.IC2Polarity = TIM_ICPOLARITY_RISING;
  sConfig.IC2Selection = TIM_ICSELECTION_DIRECTTI;
  sConfig.IC2Prescaler = TIM_ICPSC_DIV1;
  sConfig.IC2Filter = 0;
  if (HAL_TIM_Encoder_Init(&htim4, &sConfig) != HAL_OK)
  {
    Error_Handler();
  }
  sMasterConfig.MasterOutputTrigger = TIM_TRGO_RESET;
  sMasterConfig.MasterSlaveMode = TIM_MASTERSLAVEMODE_DISABLE;
  if (HAL_TIMEx_MasterConfigSynchronization(&htim4, &sMasterConfig) != HAL_OK)
  {
    Error_Handler();
  }

}

static void MX_TIM6_Init(void)
{

  TIM_MasterConfigTypeDef sMasterConfig = {0};

  htim6.Instance = TIM6;
  htim6.Init.Prescaler = 200-1;
  htim6.Init.CounterMode = TIM_COUNTERMODE_UP;
  htim6.Init.Period = 65535-1;
  htim6.Init.AutoReloadPreload = TIM_AUTORELOAD_PRELOAD_DISABLE;
  if (HAL_TIM_Base_Init(&htim6) != HAL_OK)
  {
    Error_Handler();
  }
  sMasterConfig.MasterOutputTrigger = TIM_TRGO_RESET;
  sMasterConfig.MasterSlaveMode = TIM_MASTERSLAVEMODE_DISABLE;
  if (HAL_TIMEx_MasterConfigSynchronization(&htim6, &sMasterConfig) != HAL_OK)
  {
    Error_Handler();
  }

}

static void MX_TIM8_Init(void)
{

  TIM_SlaveConfigTypeDef sSlaveConfig = {0};
  TIM_MasterConfigTypeDef sMasterConfig = {0};
  TIM_OC_InitTypeDef sConfigOC = {0};
  TIM_BreakDeadTimeConfigTypeDef sBreakDeadTimeConfig = {0};

  htim8.Instance = TIM8;
  htim8.Init.Prescaler = 0;
  htim8.Init.CounterMode = TIM_COUNTERMODE_UP;
  htim8.Init.Period = 50-1;
  htim8.Init.ClockDivision = TIM_CLOCKDIVISION_DIV1;
  htim8.Init.RepetitionCounter = 0;
  htim8.Init.AutoReloadPreload = TIM_AUTORELOAD_PRELOAD_DISABLE;
  if (HAL_TIM_Base_Init(&htim8) != HAL_OK)
  {
    Error_Handler();
  }
  if (HAL_TIM_PWM_Init(&htim8) != HAL_OK)
  {
    Error_Handler();
  }
  sSlaveConfig.SlaveMode = TIM_SLAVEMODE_EXTERNAL1;
  sSlaveConfig.InputTrigger = TIM_TS_ITR1;
  if (HAL_TIM_SlaveConfigSynchro(&htim8, &sSlaveConfig) != HAL_OK)
  {
    Error_Handler();
  }
  sMasterConfig.MasterOutputTrigger = TIM_TRGO_UPDATE;
  sMasterConfig.MasterOutputTrigger2 = TIM_TRGO2_RESET;
  sMasterConfig.MasterSlaveMode = TIM_MASTERSLAVEMODE_ENABLE;
  if (HAL_TIMEx_MasterConfigSynchronization(&htim8, &sMasterConfig) != HAL_OK)
  {
    Error_Handler();
  }
  sConfigOC.OCMode = TIM_OCMODE_PWM1;
  sConfigOC.Pulse = 0;
  sConfigOC.OCPolarity = TIM_OCPOLARITY_HIGH;
  sConfigOC.OCNPolarity = TIM_OCNPOLARITY_LOW;
  sConfigOC.OCFastMode = TIM_OCFAST_DISABLE;
  sConfigOC.OCIdleState = TIM_OCIDLESTATE_RESET;
  sConfigOC.OCNIdleState = TIM_OCNIDLESTATE_RESET;
  if (HAL_TIM_PWM_ConfigChannel(&htim8, &sConfigOC, TIM_CHANNEL_1) != HAL_OK)
  {
    Error_Handler();
  }
  if (HAL_TIM_PWM_ConfigChannel(&htim8, &sConfigOC, TIM_CHANNEL_2) != HAL_OK)
  {
    Error_Handler();
  }
  if (HAL_TIM_PWM_ConfigChannel(&htim8, &sConfigOC, TIM_CHANNEL_3) != HAL_OK)
  {
    Error_Handler();
  }
  sBreakDeadTimeConfig.OffStateRunMode = TIM_OSSR_DISABLE;
  sBreakDeadTimeConfig.OffStateIDLEMode = TIM_OSSI_DISABLE;
  sBreakDeadTimeConfig.LockLevel = TIM_LOCKLEVEL_OFF;
  sBreakDeadTimeConfig.DeadTime = 0;
  sBreakDeadTimeConfig.BreakState = TIM_BREAK_DISABLE;
  sBreakDeadTimeConfig.BreakPolarity = TIM_BREAKPOLARITY_HIGH;
  sBreakDeadTimeConfig.BreakFilter = 0;
  sBreakDeadTimeConfig.Break2State = TIM_BREAK2_DISABLE;
  sBreakDeadTimeConfig.Break2Polarity = TIM_BREAK2POLARITY_HIGH;
  sBreakDeadTimeConfig.Break2Filter = 0;
  sBreakDeadTimeConfig.AutomaticOutput = TIM_AUTOMATICOUTPUT_DISABLE;
  if (HAL_TIMEx_ConfigBreakDeadTime(&htim8, &sBreakDeadTimeConfig) != HAL_OK)
  {
    Error_Handler();
  }
  HAL_TIM_MspPostInit(&htim8);

}

static void MX_DMA_Init(void)
{

  /* DMA controller clock enable */
  __HAL_RCC_DMA1_CLK_ENABLE();
  __HAL_RCC_DMA2_CLK_ENABLE();

  /* DMA interrupt init */
  /* DMA1_Stream0_IRQn interrupt configuration */
  HAL_NVIC_SetPriority(DMA1_Stream0_IRQn, 0, 0);
  HAL_NVIC_EnableIRQ(DMA1_Stream0_IRQn);
  /* DMA1_Stream1_IRQn interrupt configuration */
  HAL_NVIC_SetPriority(DMA1_Stream1_IRQn, 0, 0);
  HAL_NVIC_EnableIRQ(DMA1_Stream1_IRQn);
  /* DMA2_Stream0_IRQn interrupt configuration */
  HAL_NVIC_SetPriority(DMA2_Stream0_IRQn, 1, 0);
  HAL_NVIC_EnableIRQ(DMA2_Stream0_IRQn);

}

static void MX_GPIO_Init(void)
{
  GPIO_InitTypeDef GPIO_InitStruct = {0};

  /* GPIO Ports Clock Enable */
  __HAL_RCC_GPIOF_CLK_ENABLE();
  __HAL_RCC_GPIOC_CLK_ENABLE();
  __HAL_RCC_GPIOA_CLK_ENABLE();
  __HAL_RCC_GPIOB_CLK_ENABLE();
  __HAL_RCC_GPIOD_CLK_ENABLE();
  __HAL_RCC_GPIOG_CLK_ENABLE();

  /*Configure GPIO pin Output Level */
  HAL_GPIO_WritePin(GPIOF, GPIO_PIN_6, GPIO_PIN_SET);

  /*Configure GPIO pin Output Level */
  HAL_GPIO_WritePin(GPIOD, GPIO_PIN_5|GPIO_PIN_6|GPIO_PIN_7, GPIO_PIN_SET);

  /*Configure GPIO pin : PF6 */
  GPIO_InitStruct.Pin = GPIO_PIN_6;
  GPIO_InitStruct.Mode = GPIO_MODE_OUTPUT_PP;
  GPIO_InitStruct.Pull = GPIO_NOPULL;
  GPIO_InitStruct.Speed = GPIO_SPEED_FREQ_LOW;
  HAL_GPIO_Init(GPIOF, &GPIO_InitStruct);

  /*Configure GPIO pins : PC1 PC4 PC5 */
  GPIO_InitStruct.Pin = GPIO_PIN_1|GPIO_PIN_4|GPIO_PIN_5;
  GPIO_InitStruct.Mode = GPIO_MODE_AF_PP;
  GPIO_InitStruct.Pull = GPIO_NOPULL;
  GPIO_InitStruct.Speed = GPIO_SPEED_FREQ_LOW;
  GPIO_InitStruct.Alternate = GPIO_AF11_ETH;
  HAL_GPIO_Init(GPIOC, &GPIO_InitStruct);

  /*Configure GPIO pins : PA1 PA2 PA7 */
  GPIO_InitStruct.Pin = GPIO_PIN_1|GPIO_PIN_2|GPIO_PIN_7;
  GPIO_InitStruct.Mode = GPIO_MODE_AF_PP;
  GPIO_InitStruct.Pull = GPIO_NOPULL;
  GPIO_InitStruct.Speed = GPIO_SPEED_FREQ_LOW;
  GPIO_InitStruct.Alternate = GPIO_AF11_ETH;
  HAL_GPIO_Init(GPIOA, &GPIO_InitStruct);

  /*Configure GPIO pin : PB13 */
  GPIO_InitStruct.Pin = GPIO_PIN_13;
  GPIO_InitStruct.Mode = GPIO_MODE_AF_PP;
  GPIO_InitStruct.Pull = GPIO_NOPULL;
  GPIO_InitStruct.Speed = GPIO_SPEED_FREQ_LOW;
  GPIO_InitStruct.Alternate = GPIO_AF11_ETH;
  HAL_GPIO_Init(GPIOB, &GPIO_InitStruct);

  /*Configure GPIO pin : PD14 */
  GPIO_InitStruct.Pin = GPIO_PIN_14;
  GPIO_InitStruct.Mode = GPIO_MODE_IT_RISING;
  GPIO_InitStruct.Pull = GPIO_PULLUP;
  HAL_GPIO_Init(GPIOD, &GPIO_InitStruct);

  /*Configure GPIO pins : PA8 PA11 PA12 */
  GPIO_InitStruct.Pin = GPIO_PIN_8|GPIO_PIN_11|GPIO_PIN_12;
  GPIO_InitStruct.Mode = GPIO_MODE_AF_PP;
  GPIO_InitStruct.Pull = GPIO_NOPULL;
  GPIO_InitStruct.Speed = GPIO_SPEED_FREQ_LOW;
  GPIO_InitStruct.Alternate = GPIO_AF10_OTG1_FS;
  HAL_GPIO_Init(GPIOA, &GPIO_InitStruct);

  /*Configure GPIO pins : PD5 PD6 PD7 */
  GPIO_InitStruct.Pin = GPIO_PIN_5|GPIO_PIN_6|GPIO_PIN_7;
  GPIO_InitStruct.Mode = GPIO_MODE_OUTPUT_PP;
  GPIO_InitStruct.Pull = GPIO_NOPULL;
  GPIO_InitStruct.Speed = GPIO_SPEED_FREQ_LOW;
  HAL_GPIO_Init(GPIOD, &GPIO_InitStruct);

  /*Configure GPIO pins : PG11 PG13 */
  GPIO_InitStruct.Pin = GPIO_PIN_11|GPIO_PIN_13;
  GPIO_InitStruct.Mode = GPIO_MODE_AF_PP;
  GPIO_InitStruct.Pull = GPIO_NOPULL;
  GPIO_InitStruct.Speed = GPIO_SPEED_FREQ_LOW;
  GPIO_InitStruct.Alternate = GPIO_AF11_ETH;
  HAL_GPIO_Init(GPIOG, &GPIO_InitStruct);

  /* EXTI interrupt init*/
  HAL_NVIC_SetPriority(EXTI15_10_IRQn, 0, 0);
  HAL_NVIC_EnableIRQ(EXTI15_10_IRQn);

}

/* USER CODE BEGIN 4 */
//
void HAL_GPIO_EXTI_Callback(uint16_t GPIO_Pin)
{
    if(GPIO_Pin == GPIO_PIN_14&& p1_LUT[enc_c]) {
        if (!first_triggered) {
            // 첫 번째 EXTI 발생 시: CNT 값을 enc_z_phase에 저장
            enc_z_phase = TIM4->CNT;
            first_triggered = 1;
        }
        else {
            // 첫 번째 트리거 이후에만 카운트
        	trigger_count++;

            // 5번에 한 번씩만 TIM4->CNT를 enc_z_phase로 복원
            if (trigger_count >= 5) {
                TIM4->CNT = enc_z_phase;
                trigger_count = 0; // 카운터 초기화
            }
        }
    }
}

/*void HAL_GPIO_EXTI_Callback(uint16_t GPIO_Pin)
{
  if(GPIO_Pin == GPIO_PIN_14&& p1_LUT[enc_c]) {
	  TIM4->CNT = 3708;
	  enc_z_phase = TIM4->CNT;
  } else {
	  __NOP();
  }
} */
// Timer 1,8 interrupt
void HAL_TIM_PeriodElapsedCallback(TIM_HandleTypeDef *htim)
{

	if(htim->Instance == htim8.Instance)
	{
		tim8_finish=TIM6->CNT;
		tim8_count=tim8_finish-tim8_start;
		tim8_start= TIM6->CNT;
		tim8_start2= TIM6->CNT;

		chai_plus_a = (current_num_a1 != 0) ? (temp_chai_a1 / current_num_a1) : 0;
		chai_minus_a = (current_num_a2 != 0) ? (temp_chai_a2 / current_num_a2) : 0;
		chai_plus_b = (current_num_b1 != 0) ? (temp_chai_b1 / current_num_b1) : 0;
		chai_minus_b = (current_num_b2 != 0) ? (temp_chai_b2 / current_num_b2) : 0;
		chai_plus_c = (current_num_c1 != 0) ? (temp_chai_c1 / current_num_c1) : 0;
		chai_minus_c = (current_num_c2 != 0) ? (temp_chai_c2 / current_num_c2) : 0;

		temp_chai_a1=0;
		current_num_a1=0;
		temp_chai_a2=0;
		current_num_a2=0;

		temp_chai_b1=0;
		current_num_b1=0;
		temp_chai_b2=0;
		current_num_b2=0;

		temp_chai_c1=0;
		current_num_c1=0;
		temp_chai_c2=0;
		current_num_c2=0;

		if(chai_plus_a==0||chai_minus_a==0) L_a= prev_L_a;
		else
			{
		plus_di_dt_a=chai_plus_a;
		minus_di_dt_a=chai_minus_a;
				L_a = temp/(plus_di_dt_a-minus_di_dt_a);
				if(L_a>=4096) L_a=4096;
			}
				L_a_filtered = 0.8*L_a + 0.2 * L_a_filtered;
				//if((L_a-L_a_filtered))
				L_a_filtered_values[filtered_index_a] = L_a_filtered;
				if(filtered_index_a>=index_num)
					{
					L_a_filtered_average = calculate_average(L_a_filtered_values, index_num);
					filtered_index_a =1;
					}
				else filtered_index_a++;

		if(chai_plus_b==0||chai_minus_b==0) L_b= prev_L_b;
		else
			{
		plus_di_dt_b=chai_plus_b;
		minus_di_dt_b=chai_minus_b;
				L_b = temp/(plus_di_dt_b-minus_di_dt_b);
				if(L_b>=4096) L_b=4096;
			}
				L_b_filtered = 0.8*L_b + 0.2 * L_b_filtered;

				L_b_filtered_values[filtered_index_b] = L_b_filtered;
				if(filtered_index_b>=index_num)
					{
					L_b_filtered_average = calculate_average(L_b_filtered_values, index_num);
					filtered_index_b =1;
					}
				else filtered_index_b++;

		if(chai_plus_c==0||chai_minus_c==0) L_c= prev_L_c;
		else
			{
		plus_di_dt_c=chai_plus_c;
		minus_di_dt_c=chai_minus_c;
				L_c = temp/(plus_di_dt_c-minus_di_dt_c);
				if(L_c>=4096) L_c=4096;
			}
				L_c_filtered = 0.8* L_c + 0.2 * L_c_filtered;

				L_c_filtered_values[filtered_index_c] = L_c_filtered;
				if(filtered_index_c>=index_num)
					{
					L_c_filtered_average = calculate_average(L_c_filtered_values, index_num);
					filtered_index_c =1;
					}
				else filtered_index_c++;

				used_L_a=L_a_filtered_average;
				used_L_b=L_b_filtered_average;
				used_L_c=L_c_filtered_average;

				if(adc_val[1] > 35000) L_a_filtered_average = 1500;
				if(adc_val[2] > 35000) L_b_filtered_average = 1500;
				if(adc_val[3] > 35000) L_c_filtered_average = 1500;

				//sicid의 안정성을 높이기 위해 2번 기울기 비교 후, 진입

				prev_L_a = L_a_filtered_average;
				prev_L_b = L_b_filtered_average;
				prev_L_c = L_c_filtered_average;

			    prev2_L_a = prev_L_a;
			    prev2_L_b = prev_L_b;
			    prev2_L_c = prev_L_c;

			if(L_a_filtered_average>L_c_filtered_average&&L_a_filtered_average>L_b_filtered_average) //a ??????????????????  ? ??  ?
				{
					Lma=L_a_filtered_average-((L_b_filtered_average+L_c_filtered_average)/2);
					Lna=0.866*(L_b_filtered_average-L_c_filtered_average);
					theta_a=FastArcTan(Lna/Lma)+6.28;
					 angle_a=45*(theta_a/3.14)*15;

				}

				if(L_b_filtered_average>L_c_filtered_average&&L_b_filtered_average>L_a_filtered_average) //b ??????????????????  ? ??  ?
								{
					Lmb=L_b_filtered_average-((L_a_filtered_average+L_c_filtered_average)/2);
					Lnb=0.866*(L_c_filtered_average-L_a_filtered_average);
					theta_b=FastArcTan(Lnb/Lmb)+2.09;
					angle_a=45*(theta_b/3.14)*15;
								}

				if(L_c_filtered_average>L_a_filtered_average&&L_c_filtered_average>L_b_filtered_average) //c ??????????????????  ? ??  ?
								{
					Lmc=L_c_filtered_average-((L_b_filtered_average+L_a_filtered_average)/2);
					Lnc=0.866*(L_a_filtered_average-L_b_filtered_average);
					theta_c=FastArcTan(Lnc/Lmc)+4.18;
					angle_a=45*(theta_c/3.14)*15;
								}

			/*	if(angle_a>max_angle_a)
					max_angle_a=angle_a;
				if(angle_a<min_angle_a)
					min_angle_a=angle_a;  */

				if(measure_minmax)
				{	stop_timer++;
				if(L_a_filtered_average>max_L_a)
						max_L_a=L_a_filtered_average;
				if(L_a_filtered_average<min_L_a&& L_a_filtered_average>50)
						min_L_a=L_a_filtered_average;

				if(L_b_filtered_average>max_L_b)
						max_L_b=L_b_filtered_average;
				if(L_b_filtered_average<min_L_b&& L_b_filtered_average >50)
						min_L_b=L_b_filtered_average;

				if(L_c_filtered_average>max_L_c)
						max_L_c=L_c_filtered_average;
				if(L_c_filtered_average < min_L_c&& L_c_filtered_average>50)
						min_L_c=L_c_filtered_average;
				}
				if(reset_minmax)
				{
					max_L_a=0;min_L_a=5000;max_L_b=0;min_L_b=0;max_L_c=0;min_L_c=0;
				}
				if(stop_timer <=30000)
				{
					stop_timer++;
				}
				if(stop_timer>29999)
					{
						//sicid_start=0;
						//sensorless_start=1-encoder;
					motor_start = encoder;
					sicid_start=1-encoder;
					}

			/*	if(stop_timer>64999)
				gain_L_start=1;  */

				current = uvw_val[0]- uvw_offset[0];
				if(current<=0) current=0;
				current_error = current_ref - current;
				current_error_sum += current_error/10;
				if(current_error_sum>20000) current_error_sum=20000;
				if(current_error_sum<-20000) current_error_sum=-20000;
				Kp = Kp_par1 * current_error;
				Ki = Ki_par1 * current_error_sum;
				duty_pre = (15 + Kp + Ki);

				if (duty_pre >= 40) duty = 35;
				else if (duty_pre<=1) duty = 1;
				else duty = duty_pre;

				lut_angle = (int)angle_a;
				converted_lut_angle = (uint16_t)lut_angle;

		/*		dif_angle=lut_angle-lut_angle_prev;
				lut_angle_prev = lut_angle;

				if (dif_angle < -1200) {
										final_time=TIM6->CNT;
										new_elapsed_time = final_time - start_time; // ?   번째 조건 충족 ?   경과 ?   ? 계산
										start_time = final_time;
										}
										if (new_elapsed_time >= 5000)
										{
											previous_elapsed_time = elapsed_time; // ?  ?   값을 ???
											elapsed_time = new_elapsed_time;     // ?  로운  ???? ?  ?  ?  ?
										}
*/
						tim8_finish2=TIM6->CNT;
						tim8_count2=tim8_finish2-tim8_start2;
						 converted_L_a = (uint16_t)L_a;
						 converted_L_a_filtered_average = (uint16_t)L_a_filtered_average;
						 converted_L_b = (uint16_t)L_b;
						 converted_L_b_filtered_average = (uint16_t)L_b_filtered_average;
						 converted_L_c = (uint16_t)L_c;
						 converted_L_c_filtered_average = (uint16_t)L_c_filtered_average;
						 converted_a_ready = a_ready*3000;
						 converted_b_ready = b_ready*3000;
						 converted_c_ready = c_ready*3000;

	}

	if(htim->Instance == htim1.Instance)
	{

		tim1_start3= TIM6->CNT;
		current_value = uvw_val[0]/16;

		if(motor_start){
			if(example1<current_offset[1]+count5) hfp_1 =duty1;
			else hfp_1 =0;
			if(adc_val[2]<current_offset[2]+count5) hfp_2 =duty1;
			else hfp_2 =0;
			if(adc_val[3]<current_offset[3]+count5) hfp_3 =duty1;
			else hfp_3 =0;

					enc_c=TIM4->CNT%1024;
					tim4_cnt=TIM4->CNT;
					TIM8->CCR1 =p1_LUT[enc_c]*duty+hfp_1;
					TIM8->CCR2 =p2_LUT[enc_c]*duty+hfp_2;
					TIM8->CCR3 =p3_LUT[enc_c]*duty+hfp_3;
					tim8_ccr[0]=TIM8->CCR1;
					tim8_ccr[1]=TIM8->CCR2;
					tim8_ccr[2]=TIM8->CCR3;
					/*TIM8->CCR1=tim8_ccr[0];
					TIM8->CCR2=tim8_ccr[1];
					TIM8->CCR3=tim8_ccr[2];  */
					enc_c_count = (uint16_t)enc_c*1500/1024;

				}

		  if (A_switch) {
		        if ((L_b_filtered_average >= prev_L_b+sicid_val)) {
		            B_switch = 1;
		            A_switch = 0;
		            C_switch = 0;

		            HAL_GPIO_WritePin(GPIOD, GPIO_PIN_5, GPIO_PIN_RESET);
		            HAL_GPIO_WritePin(GPIOD, GPIO_PIN_6, GPIO_PIN_SET);
		            HAL_GPIO_WritePin(GPIOD, GPIO_PIN_7, GPIO_PIN_RESET);
		        }
		    }

		    // B_switch 상태에서 L_c의 연속 증가 조건 확인
		    if (B_switch) {
		        if ((L_c_filtered_average>= prev_L_c+sicid_val)) {
		            B_switch = 0;
		            A_switch = 0;
		            C_switch = 1;
		            HAL_GPIO_WritePin(GPIOD, GPIO_PIN_5, GPIO_PIN_RESET);
		            HAL_GPIO_WritePin(GPIOD, GPIO_PIN_6, GPIO_PIN_RESET);
		            HAL_GPIO_WritePin(GPIOD, GPIO_PIN_7, GPIO_PIN_SET);
		        }
		    }

		    // C_switch 상태에서 L_a의 연속 증가 조건 확인
		    if (C_switch) {
		        if ((L_a_filtered_average>= prev_L_a+sicid_val)) {
		            B_switch = 0;
		            A_switch = 1;
		            C_switch = 0;
		            HAL_GPIO_WritePin(GPIOD, GPIO_PIN_5, GPIO_PIN_SET);
		            HAL_GPIO_WritePin(GPIOD, GPIO_PIN_6, GPIO_PIN_RESET);
		            HAL_GPIO_WritePin(GPIOD, GPIO_PIN_7, GPIO_PIN_RESET);
		        }
		    }

		if(sicid_start){ //?   ? sicid

					if(adc_val[1]<current_offset[1]+count5) hfp_1 =duty1;
					else hfp_1 =0;
					if(adc_val[2]<current_offset[2]+count5) hfp_2 =duty1;
					else hfp_2 =0;
					if(adc_val[3]<current_offset[3]+count5) hfp_3 =duty1;
					else hfp_3 =0;

					lut_angle = (int)angle_a;

					  if (A_switch) {
						  if ((L_b_filtered_average >= prev_L_b+sicid_val)) {
					            B_switch = 1;
					            A_switch = 0;
					            C_switch = 0;
					            HAL_GPIO_TogglePin(GPIOD, GPIO_PIN_5);
					        }
					    }

					    // B_switch 상태에서 L_c의 연속 증가 조건 확인
					    if (B_switch) {
					    	 if ((L_c_filtered_average>= prev_L_c+sicid_val)) {
					            B_switch = 0;
					            A_switch = 0;
					            C_switch = 1;
					            HAL_GPIO_TogglePin(GPIOD, GPIO_PIN_6);
					        }
					    }

					    // C_switch 상태에서 L_a의 연속 증가 조건 확인
					    if (C_switch) {
					    	if ((L_a_filtered_average>= prev_L_a+sicid_val)) {
					            B_switch = 0;
					            A_switch = 1;
					            C_switch = 0;
					            HAL_GPIO_TogglePin(GPIOD, GPIO_PIN_7);
					        }
					    }

					TIM8->CCR1 =A_switch*duty+hfp_1;
					TIM8->CCR2 =B_switch*duty+hfp_2;
					TIM8->CCR3 =C_switch*duty+hfp_3;

				}

		//example1=60*(example1/100) + 40*(adc_val[1]/100);
		//example3=60*(example3/100) + 40*(adc_val[2]/100);
		//example5=60*(example5/100) + 40*(adc_val[3]/100);

		example1 = adc_val[1];
		example3 = adc_val[2];
		example5 = adc_val[3];

		chai_a=example1-example2;
		chai_b=example3-example4;
		chai_c=example5-example6;

/*		if(example1>0){
				if(chai_a>8)
								{
									current_num_a1++;
									temp_chai_a1+=chai_a;
								}
				if(chai_a<-8)
								{
									current_num_a2++;
									temp_chai_a2+=chai_a;
								}

		}  */
		if(adc_val[1]>countttt)
			{
			if(chai_a>counttt)
							{
								current_num_a1++;
								temp_chai_a1+=chai_a;
							}
			if(chai_a<-counttt)
							{
								current_num_a2++;
								temp_chai_a2+=chai_a;
							}
			}
		else
		{
			if(chai_a>counttt&&chai_a<countt)
							{
								current_num_a1++;
								temp_chai_a1+=chai_a;
							}
			if(chai_a<-counttt&&chai_a>-countt)
							{
								current_num_a2++;
								temp_chai_a2+=chai_a;
							}
			}

		if(adc_val[2]>countttt){
				if(chai_b>counttt)
								{
									current_num_b1++;
									temp_chai_b1+=chai_b;
								}
				if(chai_b<-counttt)
								{
									current_num_b2++;
									temp_chai_b2+=chai_b;
								}

		}
		else{
			if(chai_b>counttt&&chai_b<countt)
							{
								current_num_b1++;
								temp_chai_b1+=chai_b;
							}
			if(chai_b<-counttt&&chai_b>-countt)
							{
								current_num_b2++;
								temp_chai_b2+=chai_b;
							}

					}
	if(adc_val[3]>countttt){
			if(chai_c>counttt)
							{
								current_num_c1++;
								temp_chai_c1+=chai_c;
							}
			if(chai_c<-counttt)
							{
								current_num_c2++;
								temp_chai_c2+=chai_c;
							}
		}
	else{
		if(chai_c>counttt&&chai_c<countt)
						{
							current_num_c1++;
							temp_chai_c1+=chai_c;
						}
		if(chai_c<-counttt&&chai_c>-countt)
						{
							current_num_c2++;
							temp_chai_c2+=chai_c;
						}
				}

		example2=example1;
		example4=example3;
		example6=example5;

		tim1_finish3=TIM6->CNT;
		tim1_count3=tim1_finish3-tim1_start3;
				}
	}

float LowPassFilter(float x,float x_prev)
{
	float L_a_filtered;
	// Low Pass Filter 계산
	L_a_filtered = 0.6 * x + 0.4 * x_prev;
	return L_a_filtered;
}

void InitLUT(void){

	for(unsigned int i=0;i<1024;i++){
		p1_LUT[i]= (i % 1024)>=angle_on && (i % 1024)<=angle_off;  //512~853
		p2_LUT[i]=((i-340)%1024)>=angle_on && ((i-340)%1024)<=angle_off;  //852~1023, 0~169
		p3_LUT[i]=((i+340)%1024)>=angle_on && ((i+340)%1024)<=angle_off; //172~513
	}
}
void SensorlessLUT(void)
{
	for(unsigned int i=200;i<1600;i++){
			p2_ssLUT[i]= (i%1600)>=1140 && (i % 1600)<=1590;

			p1_ssLUT[i]=(i%1600)>=670 && (i%1600)<=1130;

			p3_ssLUT[i]=(i%1600)>=200 && (i%1600)<=660;

		}
}

/* void SensorlessLUT(void)
{
	for(unsigned int i=1500;i<3000;i++){
			p1_ssLUT[i]= (i%3000)>=2020 && (i % 3000)<=2500;

			p2_ssLUT[i]=(i%3000)>=2500 && (i%3000)<=3000;

			p3_ssLUT[i]=(i%3000)>=1500 && (i%3000)<=2020;

		}
}
*/

/*double FastArcTan(double x){
	return 0.7853981633974483 * x - x * (fabs(x) - 1.0) * (0.2447 + 0.0663 * fabs(x));
} */
double FastArcTan(double x) {
	const double k1 = 0.28125;  // 미리 계산?   ?  ?
	return x / (1.0 + k1 * fabs(x));
}

void generate_L_sin(){
	float angle_increment = (2*3.1416)/7200;
	int max_value = 2650;
	int min_value = 600;
/*	for (int j=0; j< 400; j++)
	{
		L_sin[j] = 300;
	}  */
	for (int i=0; i<= 3600; i++)
	{
		float angle = i * angle_increment-3.1416/2;
		float sin_value = sin(angle);
		L_sin[i] = (max_value-min_value)/2*sin_value+(max_value+min_value)/2;
	}
}

float calculate_average(float *values, int count) {
	float sum = 0;
	for (int i = 1; i <= count; i++) {
		sum += values[i];
	}
	return sum / count;
}

/* USER CODE END 4 */

void Error_Handler(void)
{
  __disable_irq();
  while (1)
  {
  }
}
